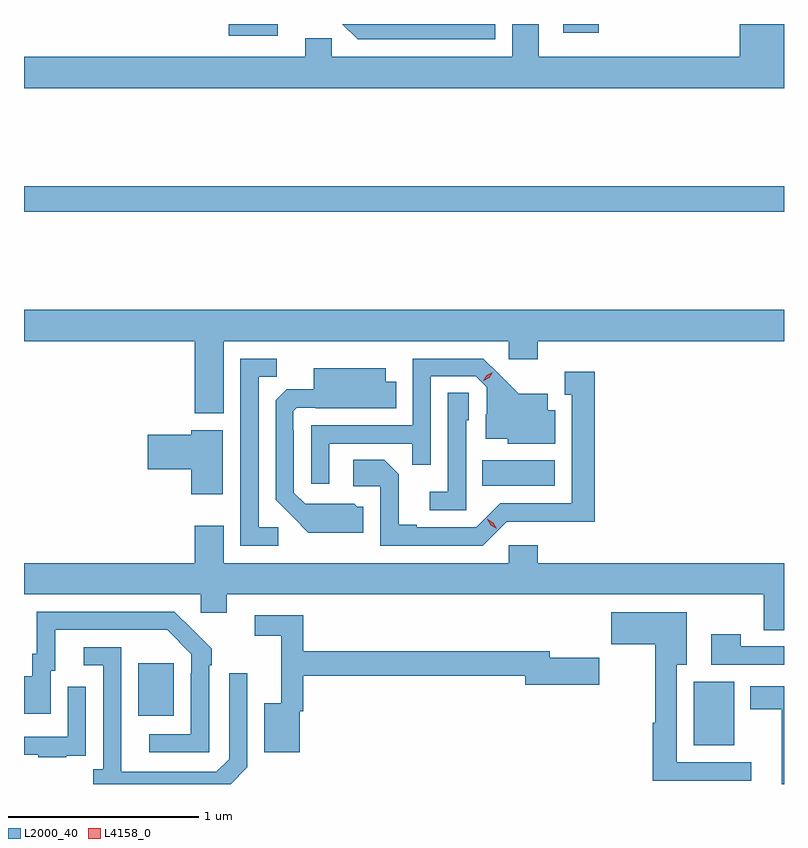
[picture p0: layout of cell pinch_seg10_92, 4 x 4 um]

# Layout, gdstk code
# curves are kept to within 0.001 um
import gdstk
lib = gdstk.Library(unit=1e-6, precision=1e-09)
def R(c, l, rs):  # rectangles x0, y0, x1, y1
    for r in rs: c.add(gdstk.rectangle(r[:2], r[2:], *l))
def P(c, l, *ps):  # polygons
    for p in ps: c.add(gdstk.Polygon(p, *l))
L2000_40 = (2000, 40)
L4158_0 = (4158, 0)

pinch_seg10_92 = lib.new_cell('pinch_seg10_92')
R(pinch_seg10_92, L2000_40, [(726.338,1290.197,726.55,1290.532), (723.413,1290.353,723.601,1290.628), (725.224,1291.562,725.605,1291.696), (722.812,1293.004,726.812,1293.14), (723.889,1293.93,724.147,1293.993), (725.649,1293.948,725.837,1293.993)])
P(pinch_seg10_92, L2000_40, [(726.812,1293.993),(726.578,1293.993),(726.578,1293.82),(725.521,1293.82),(725.521,1293.993),(725.381,1293.993),(725.381,1293.82),(724.431,1293.82),(724.431,1293.918),(724.292,1293.918),(724.292,1293.82),(722.812,1293.82),(722.812,1293.656),(726.812,1293.656)],
  [(725.292,1293.993),(724.487,1293.993),(724.568,1293.912),(725.292,1293.912)],
  [(723.862,1292.324),(725.364,1292.324),(725.364,1292.229),(725.516,1292.229),(725.516,1292.324),(726.812,1292.324),(726.812,1292.488),(722.812,1292.488),(722.812,1292.324),(723.71,1292.324),(723.71,1291.944),(723.862,1291.944)],
  [(724.15,1291.344),(724.047,1291.344),(724.047,1292.137),(724.143,1292.137),(724.143,1292.232),(723.951,1292.232),(723.951,1291.248),(724.15,1291.248)],
  [(724.419,1291.785),(724.855,1291.785),(724.855,1291.672),(724.953,1291.672),(724.953,1292.139),(725.19,1292.139),(725.247,1292.082),(725.247,1291.94),(725.243,1291.94),(725.243,1291.811),(725.358,1291.811),(725.358,1291.784),(725.608,1291.784),(725.608,1291.96),(725.569,1291.96),(725.569,1292.047),(725.417,1292.047),(725.23,1292.232),(724.857,1292.232),(724.857,1291.881),(724.323,1291.881),(724.323,1291.572),(724.419,1291.572)],
  [(724.597,1291.452),(724.566,1291.452),(724.55,1291.468),(724.293,1291.467),(724.233,1291.527),(724.233,1291.856),(724.23,1291.856),(724.23,1291.956),(724.248,1291.974),(724.348,1291.974),(724.348,1291.97),(724.772,1291.97),(724.772,1292.11),(724.717,1292.11),(724.717,1292.182),(724.337,1292.182),(724.337,1292.071),(724.196,1292.071),(724.137,1292.012),(724.137,1291.49),(724.309,1291.316),(724.597,1291.316)],
  [(725.352,1291.374),(725.815,1291.373),(725.815,1292.164),(725.657,1292.164),(725.657,1292.043),(725.696,1292.043),(725.696,1291.47),(725.319,1291.47),(725.193,1291.344),(724.879,1291.344),(724.879,1291.357),(724.785,1291.357),(724.785,1291.624),(724.709,1291.7),(724.545,1291.7),(724.545,1291.56),(724.686,1291.56),(724.686,1291.248),(725.226,1291.248)],
  [(725.139,1291.908),(725.154,1291.908),(725.154,1292.051),(725.043,1292.051),(725.043,1291.531),(724.947,1291.531),(724.947,1291.434),(725.139,1291.434)],
  [(723.859,1291.855),(723.692,1291.855),(723.692,1291.832),(723.462,1291.832),(723.462,1291.649),(723.692,1291.649),(723.692,1291.518),(723.859,1291.518)],
  [(726.812,1291.156),(725.516,1291.156),(725.516,1291.249),(725.364,1291.249),(725.364,1291.156),(723.862,1291.156),(723.862,1291.351),(723.71,1291.351),(723.71,1291.156),(722.812,1291.156),(722.812,1290.992),(723.741,1290.992),(723.741,1290.894),(723.88,1290.894),(723.88,1290.992),(726.706,1290.992),(726.706,1290.802),(726.812,1290.802)],
  [(723.786,1290.617),(723.801,1290.617),(723.801,1290.705),(723.604,1290.9),(722.88,1290.9),(722.88,1290.678),(722.855,1290.678),(722.855,1290.559),(722.812,1290.559),(722.812,1290.363),(722.953,1290.363),(722.953,1290.588),(722.977,1290.588),(722.977,1290.804),(723.565,1290.804),(723.693,1290.675),(723.693,1290.575),(723.69,1290.575),(723.69,1290.255),(723.471,1290.255),(723.471,1290.159),(723.786,1290.159)],
  [(726.64,1290.108),(726.247,1290.108),(726.247,1290.62),(726.301,1290.62),(726.301,1290.898),(725.904,1290.898),(725.904,1290.728),(726.134,1290.728),(726.134,1290.315),(726.122,1290.315),(726.122,1290.011),(726.64,1290.011)],
  [(724.264,1290.375),(724.283,1290.375),(724.283,1290.562),(725.45,1290.562),(725.45,1290.515),(725.839,1290.515),(725.839,1290.657),(725.578,1290.657),(725.578,1290.691),(724.283,1290.691),(724.283,1290.882),(724.026,1290.882),(724.026,1290.774),(724.166,1290.774),(724.166,1290.418),(724.076,1290.418),(724.076,1290.161),(724.264,1290.161)],
  [(726.812,1290.717),(726.585,1290.717),(726.585,1290.781),(726.429,1290.781),(726.429,1290.621),(726.812,1290.621)],
  [(723.987,1290.081),(723.987,1290.577),(723.891,1290.577),(723.891,1290.123),(723.825,1290.057),(723.325,1290.057),(723.324,1290.714),(723.126,1290.714),(723.126,1290.618),(723.228,1290.618),(723.228,1290.07),(723.177,1290.07),(723.177,1289.993),(723.899,1289.993)],
  [(726.812,1290.508),(726.635,1290.508),(726.635,1290.386),(726.8,1290.386),(726.8,1289.993),(726.812,1289.993)],
  [(723.035,1290.141),(723.137,1290.141),(723.137,1290.25),(723.138,1290.25),(723.138,1290.505),(723.042,1290.505),(723.042,1290.243),(722.812,1290.243),(722.812,1290.147),(722.887,1290.147),(722.887,1290.135),(723.035,1290.135)])
P(pinch_seg10_92, L4158_0, [(725.299,1291.336),(725.268,1291.355),(725.25,1291.387),(725.25,1291.388),(725.25,1291.388),(725.282,1291.369),(725.3,1291.336),(725.3,1291.336)],
  [(725.23,1292.115),(725.23,1292.116),(725.248,1292.145),(725.278,1292.16),(725.278,1292.16),(725.278,1292.16),(725.261,1292.13),(725.231,1292.115)])

lib.write_gds('pinch_seg10_92.gds')
